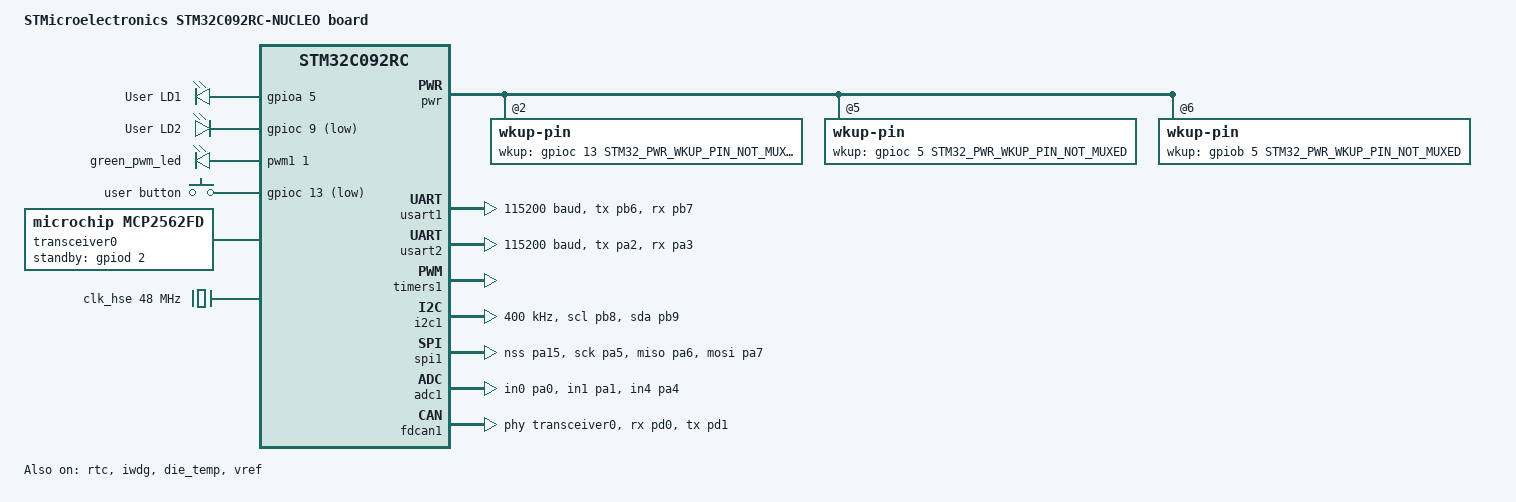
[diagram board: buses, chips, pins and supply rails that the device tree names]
/*
 * Copyright (c) 2024 STMicroelectronics
 * Copyright (c) 2025 Thomas Stranger
 *
 * SPDX-License-Identifier: Apache-2.0
 */

/dts-v1/;
#include <st/c0/stm32c092Xc.dtsi>
#include <st/c0/stm32c092rctx-pinctrl.dtsi>
#include "arduino_r3_connector.dtsi"
#include <zephyr/dt-bindings/input/input-event-codes.h>

/ {
	model = "STMicroelectronics STM32C092RC-NUCLEO board";
	compatible = "st,stm32c092rc-nucleo";

	chosen {
		zephyr,console = &usart2;
		zephyr,shell-uart = &usart2;
		zephyr,sram = &sram0;
		zephyr,flash = &flash0;
		zephyr,canbus = &fdcan1;
	};

	leds: leds {
		compatible = "gpio-leds";

		green_led_1: led_1 {
			gpios = <&gpioa 5 GPIO_ACTIVE_HIGH>;
			label = "User LD1";
		};

		blue_led: led_2 {
			gpios = <&gpioc 9 GPIO_ACTIVE_LOW>;
			label = "User LD2";
		};
	};

	pwmleds {
		compatible = "pwm-leds";

		green_pwm_led: green_pwm_led {
			pwms = <&pwm1 1 PWM_MSEC(20) PWM_POLARITY_NORMAL>;
		};
	};

	gpio_keys {
		compatible = "gpio-keys";

		user_button: button {
			label = "user button";
			gpios = <&gpioc 13 (GPIO_ACTIVE_LOW | GPIO_PULL_UP)>;
			status = "okay";
			zephyr,code = <INPUT_KEY_0>;
		};
	};

	transceiver0: can-phy0 {
		compatible = "microchip,mcp2562fd", "can-transceiver-gpio";
		standby-gpios = <&gpiod 2 GPIO_ACTIVE_HIGH>;
		max-bitrate = <5000000>;
		#phy-cells = <0>;
	};

	aliases {
		led0 = &green_led_1;
		led1 = &blue_led;
		pwm-led0 = &green_pwm_led;
		sw0 = &user_button;
		watchdog0 = &iwdg;
		die-temp0 = &die_temp;
		volt-sensor0 = &vref;
	};
};

/* Add the STM32C09xCx package-specific wake-up pins */
&pwr {
	wkup-pin@2 {
		reg = <0x2>;
		wkup-gpios = <&gpioc 13 STM32_PWR_WKUP_PIN_NOT_MUXED>;
	};

	wkup-pin@5 {
		reg = <0x5>;
		wkup-gpios = <&gpioc 5 STM32_PWR_WKUP_PIN_NOT_MUXED>;
	};

	wkup-pin@6 {
		reg = <0x6>;
		wkup-gpios = <&gpiob 5 STM32_PWR_WKUP_PIN_NOT_MUXED>;
	};
};

&clk_lse {
	status = "okay";
};

&clk_hse {
	clock-frequency = <DT_FREQ_M(48)>;
	status = "okay";
};

&clk_hsi {
	status = "okay";
};

&rcc {
	clocks = <&clk_hse>;
	clock-frequency = <DT_FREQ_M(48)>;
	ahb-prescaler = <1>;
	apb1-prescaler = <1>;
};

&usart1 {
	pinctrl-0 = <&usart1_tx_pb6 &usart1_rx_pb7>;
	pinctrl-names = "default";
	current-speed = <115200>;
	status = "okay";
};

&usart2 {
	pinctrl-0 = <&usart2_tx_pa2 &usart2_rx_pa3>;
	pinctrl-names = "default";
	current-speed = <115200>;
	status = "okay";
};

&rtc {
	clocks = <&rcc STM32_CLOCK(APB1, 10)>,
		 <&rcc STM32_SRC_LSE RTC_SEL(1)>;
	status = "okay";
};

&iwdg {
	status = "okay";
};

&timers1 {
	st,prescaler = <10000>;
	status = "okay";

	pwm1: pwm {
		pinctrl-0 = <&tim1_ch1_pa5>;
		pinctrl-names = "default";
		status = "okay";
	};
};

&i2c1 {
	pinctrl-0 = <&i2c1_scl_pb8 &i2c1_sda_pb9>;
	pinctrl-names = "default";
	status = "okay";
	clock-frequency = <I2C_BITRATE_FAST>;
};

&spi1 {
	/* Note: PA5 is shared with green led0 */
	pinctrl-0 = <&spi1_nss_pa15 &spi1_sck_pa5
		     &spi1_miso_pa6 &spi1_mosi_pa7>;
	pinctrl-names = "default";
	status = "okay";
};

&adc1 {
	pinctrl-0 = <&adc1_in0_pa0 &adc1_in1_pa1 &adc1_in4_pa4>;
	pinctrl-names = "default";
	st,adc-clock-source = "ASYNC";
	clocks = <&rcc STM32_CLOCK(APB1_2, 20)>,
		 <&rcc STM32_SRC_HSI ADC_SEL(2)>;
	clock-names = "adcx", "adc_ker";
	st,adc-prescaler = <4>;
	status = "okay";
	vref-mv = <3300>;
};

&die_temp {
	status = "okay";
};

&vref {
	status = "okay";
};

&dma1 {
	status = "okay";
};

&dmamux1 {
	status = "okay";
};

/* Make sure SB11, SB12, and SB13 are closed (default configuration).
 * Close JP9 to enable 120 Ohm termination on the board.
 */
&fdcan1 {
	clocks = <&rcc STM32_CLOCK(APB1, 12)>,
		 <&rcc STM32_SRC_HSE FDCAN_SEL(2)>;
	pinctrl-0 = <&fdcan1_rx_pd0 &fdcan1_tx_pd1>;
	pinctrl-names = "default";
	phys = <&transceiver0>;
	status = "okay";
};
